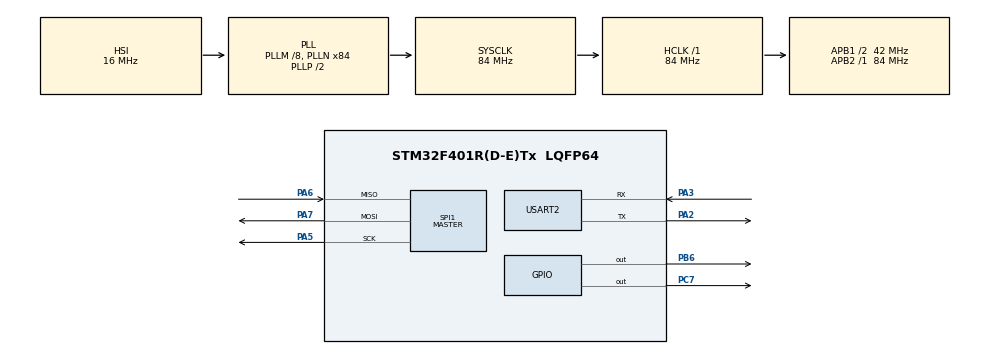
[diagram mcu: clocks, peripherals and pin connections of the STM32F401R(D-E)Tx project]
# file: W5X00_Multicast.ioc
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Mcu.Family=STM32F4
Mcu.Name=STM32F401R(D-E)Tx
Mcu.Package=LQFP64
NVIC.PriorityGroup=NVIC_PRIORITYGROUP_4
NVIC.RCC_IRQn=true\:0\:0\:false\:false\:true\:true\:false
NVIC.USART2_IRQn=true\:0\:0\:false\:false\:true\:true\:true
PA13.Mode=Serial_Wire
PA13.Signal=SYS_JTMS-SWDIO
PA14.Mode=Serial_Wire
PA14.Signal=SYS_JTCK-SWCLK
PA2.Mode=Asynchronous
PA2.Signal=USART2_TX
PA3.Mode=Asynchronous
PA3.Signal=USART2_RX
PA5.Mode=Full_Duplex_Master
PA5.Signal=SPI1_SCK
PA6.Mode=Full_Duplex_Master
PA6.Signal=SPI1_MISO
PA7.Mode=Full_Duplex_Master
PA7.Signal=SPI1_MOSI
PB6.Signal=GPIO_Output
PC14-OSC32_IN.Mode=LSE-External-Oscillator
PC14-OSC32_IN.Signal=RCC_OSC32_IN
PC15-OSC32_OUT.Mode=LSE-External-Oscillator
PC15-OSC32_OUT.Signal=RCC_OSC32_OUT
PC7.Signal=GPIO_Output
ProjectManager.HeapSize=0x200
ProjectManager.StackSize=0x400
ProjectManager.TargetToolchain=TrueSTUDIO
RCC.48MHZClocksFreq_Value=42000000
RCC.AHBFreq_Value=84000000
RCC.APB1CLKDivider=RCC_HCLK_DIV2
RCC.APB1Freq_Value=42000000
RCC.APB1TimFreq_Value=84000000
RCC.APB2Freq_Value=84000000
RCC.APB2TimFreq_Value=84000000
RCC.CortexFreq_Value=84000000
RCC.HCLKFreq_Value=84000000
RCC.HSE_VALUE=25000000
RCC.HSI_VALUE=16000000
RCC.PLLM=8
RCC.PLLN=84
RCC.SYSCLKFreq_VALUE=84000000
RCC.SYSCLKSource=RCC_SYSCLKSOURCE_PLLCLK
RCC.VCOOutputFreq_Value=168000000
SPI1.BaudRatePrescaler=SPI_BAUDRATEPRESCALER_16
SPI1.Direction=SPI_DIRECTION_2LINES
SPI1.Mode=SPI_MODE_MASTER
SPI1.VirtualType=VM_MASTER
USART2.VirtualMode=VM_ASYNC
board=custom

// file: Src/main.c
/* USER CODE BEGIN Header */
/**
  ******************************************************************************
  * @file           : main.c
  * @brief          : Main program body
  ******************************************************************************
  * @attention
  *
  * <h2><center>&copy; Copyright (c) 2019 STMicroelectronics.
  * All rights reserved.</center></h2>
  *
  * This software component is licensed by ST under BSD 3-Clause license,
  * the "License"; You may not use this file except in compliance with the
  * License. You may obtain a copy of the License at:
  *                        opensource.org/licenses/BSD-3-Clause
  *
  ******************************************************************************
  */
/* USER CODE END Header */

#include "main.h"

/* USER CODE BEGIN Includes */
#include "stdio.h"
#include "Application/Multicast/multicast.h"
#include "wizchip_conf.h"
/* USER CODE END Includes */

SPI_HandleTypeDef hspi1;

UART_HandleTypeDef huart2;

/* USER CODE BEGIN PV */
wiz_NetInfo defaultNetInfo = { .mac = {0x00,0x08,0xdc,0xff,0xee,0xdd},
							.ip = {192,168,0,130},
							.sn = {255,255,255,0},
							.gw = {192,168,0,254},
							//.dns = {168, 126, 63, 1},
							.dns = {8, 8, 8, 8},
							.dhcp = NETINFO_STATIC};
uint8_t ethBuf0[2048];
/* USER CODE END PV */

void SystemClock_Config(void);
static void MX_GPIO_Init(void);
static void MX_SPI1_Init(void);
static void MX_USART2_UART_Init(void);
/* USER CODE BEGIN PFP */
void print_network_information(void);

int _write(int fd, char *str, int len)
{
	for(int i=0; i<len; i++)
	{
		HAL_UART_Transmit(&huart2, (uint8_t *)&str[i], 1, 0xFFFF);
	}
	return len;
}

/* USER CODE END PFP */

int main(void)
{
  /* USER CODE BEGIN 1 */

  uint8_t multicast_ip[4]={239,255,255,250};
  uint16_t multicast_port=1900;
  /* USER CODE END 1 */

  /* MCU Configuration--------------------------------------------------------*/

  /* Reset of all peripherals, Initializes the Flash interface and the Systick. */
  HAL_Init();

  /* Configure the system clock */
  SystemClock_Config();

  /* Initialize all configured peripherals */
  MX_GPIO_Init();
  MX_SPI1_Init();
  MX_USART2_UART_Init();
  /* USER CODE BEGIN 2 */

  #if 1   //teddy 200212
  printf("\t - W5x00 Project - \r\n");
  resetAssert();
  HAL_Delay(300);
  resetDeassert();
  HAL_Delay(300);
  printf("\t - WizChip Init - \r\n");
  #endif

  WIZCHIPInitialize();
#if _WIZCHIP_ == W5100
  HAL_Delay(3000);
#endif
#if _WIZCHIP_ == W5100S
  printf("version:%.2x\r\n", getVER());
  printf("TMSR:%.2x\r\n", getTMSR());
  //NETUNLOCK();
#endif

#if _WIZCHIP_ == W5200  ||  _WIZCHIP_ == W5500
  printf("version:%.2x\r\n", getVERSIONR());
#endif

  wizchip_setnetinfo(&defaultNetInfo);
  print_network_information();

  /* USER CODE END 2 */

  /* Infinite loop */
  /* USER CODE BEGIN WHILE */
  while (1)
  {

	  multicast_recv(0,ethBuf0,multicast_ip, multicast_port);

    /* USER CODE END WHILE */

  }
}

void SystemClock_Config(void)
{
  RCC_OscInitTypeDef RCC_OscInitStruct = {0};
  RCC_ClkInitTypeDef RCC_ClkInitStruct = {0};

  /** Configure the main internal regulator output voltage
  */
  __HAL_RCC_PWR_CLK_ENABLE();
  __HAL_PWR_VOLTAGESCALING_CONFIG(PWR_REGULATOR_VOLTAGE_SCALE2);
  /** Initializes the CPU, AHB and APB busses clocks
  */
  RCC_OscInitStruct.OscillatorType = RCC_OSCILLATORTYPE_HSI;
  RCC_OscInitStruct.HSIState = RCC_HSI_ON;
  RCC_OscInitStruct.HSICalibrationValue = RCC_HSICALIBRATION_DEFAULT;
  RCC_OscInitStruct.PLL.PLLState = RCC_PLL_ON;
  RCC_OscInitStruct.PLL.PLLSource = RCC_PLLSOURCE_HSI;
  RCC_OscInitStruct.PLL.PLLM = 8;
  RCC_OscInitStruct.PLL.PLLN = 84;
  RCC_OscInitStruct.PLL.PLLP = RCC_PLLP_DIV2;
  RCC_OscInitStruct.PLL.PLLQ = 4;
  if (HAL_RCC_OscConfig(&RCC_OscInitStruct) != HAL_OK)
  {
    Error_Handler();
  }
  /** Initializes the CPU, AHB and APB busses clocks
  */
  RCC_ClkInitStruct.ClockType = RCC_CLOCKTYPE_HCLK|RCC_CLOCKTYPE_SYSCLK
                              |RCC_CLOCKTYPE_PCLK1|RCC_CLOCKTYPE_PCLK2;
  RCC_ClkInitStruct.SYSCLKSource = RCC_SYSCLKSOURCE_PLLCLK;
  RCC_ClkInitStruct.AHBCLKDivider = RCC_SYSCLK_DIV1;
  RCC_ClkInitStruct.APB1CLKDivider = RCC_HCLK_DIV2;
  RCC_ClkInitStruct.APB2CLKDivider = RCC_HCLK_DIV1;

  if (HAL_RCC_ClockConfig(&RCC_ClkInitStruct, FLASH_LATENCY_2) != HAL_OK)
  {
    Error_Handler();
  }
}

static void MX_SPI1_Init(void)
{

  /* SPI1 parameter configuration*/
  hspi1.Instance = SPI1;
  hspi1.Init.Mode = SPI_MODE_MASTER;
  hspi1.Init.Direction = SPI_DIRECTION_2LINES;
  hspi1.Init.DataSize = SPI_DATASIZE_8BIT;
  hspi1.Init.CLKPolarity = SPI_POLARITY_LOW;
  hspi1.Init.CLKPhase = SPI_PHASE_1EDGE;
  hspi1.Init.NSS = SPI_NSS_SOFT;
  hspi1.Init.BaudRatePrescaler = SPI_BAUDRATEPRESCALER_16;
  hspi1.Init.FirstBit = SPI_FIRSTBIT_MSB;
  hspi1.Init.TIMode = SPI_TIMODE_DISABLE;
  hspi1.Init.CRCCalculation = SPI_CRCCALCULATION_DISABLE;
  hspi1.Init.CRCPolynomial = 10;
  if (HAL_SPI_Init(&hspi1) != HAL_OK)
  {
    Error_Handler();
  }

}

static void MX_USART2_UART_Init(void)
{

  huart2.Instance = USART2;
  huart2.Init.BaudRate = 115200;
  huart2.Init.WordLength = UART_WORDLENGTH_8B;
  huart2.Init.StopBits = UART_STOPBITS_1;
  huart2.Init.Parity = UART_PARITY_NONE;
  huart2.Init.Mode = UART_MODE_TX_RX;
  huart2.Init.HwFlowCtl = UART_HWCONTROL_NONE;
  huart2.Init.OverSampling = UART_OVERSAMPLING_16;
  if (HAL_UART_Init(&huart2) != HAL_OK)
  {
    Error_Handler();
  }

}

static void MX_GPIO_Init(void)
{
  GPIO_InitTypeDef GPIO_InitStruct = {0};

  /* GPIO Ports Clock Enable */
  __HAL_RCC_GPIOC_CLK_ENABLE();
  __HAL_RCC_GPIOA_CLK_ENABLE();
  __HAL_RCC_GPIOB_CLK_ENABLE();

  /*Configure GPIO pin Output Level */
  HAL_GPIO_WritePin(GPIOC, GPIO_PIN_7, GPIO_PIN_RESET);

  /*Configure GPIO pin Output Level */
  HAL_GPIO_WritePin(GPIOB, GPIO_PIN_6, GPIO_PIN_RESET);

  /*Configure GPIO pin : PC7 */
  GPIO_InitStruct.Pin = GPIO_PIN_7;
  GPIO_InitStruct.Mode = GPIO_MODE_OUTPUT_PP;
  GPIO_InitStruct.Pull = GPIO_NOPULL;
  GPIO_InitStruct.Speed = GPIO_SPEED_FREQ_LOW;
  HAL_GPIO_Init(GPIOC, &GPIO_InitStruct);

  /*Configure GPIO pin : PB6 */
  GPIO_InitStruct.Pin = GPIO_PIN_6;
  GPIO_InitStruct.Mode = GPIO_MODE_OUTPUT_PP;
  GPIO_InitStruct.Pull = GPIO_NOPULL;
  GPIO_InitStruct.Speed = GPIO_SPEED_FREQ_LOW;
  HAL_GPIO_Init(GPIOB, &GPIO_InitStruct);

}

/* USER CODE BEGIN 4 */
void print_network_information(void)
{
	wizchip_getnetinfo(&defaultNetInfo);
	printf("Mac address: %02x:%02x:%02x:%02x:%02x:%02x\n\r",defaultNetInfo.mac[0],defaultNetInfo.mac[1],defaultNetInfo.mac[2],defaultNetInfo.mac[3],defaultNetInfo.mac[4],defaultNetInfo.mac[5]);
	printf("IP address : %d.%d.%d.%d\n\r",defaultNetInfo.ip[0],defaultNetInfo.ip[1],defaultNetInfo.ip[2],defaultNetInfo.ip[3]);
	printf("SM Mask	   : %d.%d.%d.%d\n\r",defaultNetInfo.sn[0],defaultNetInfo.sn[1],defaultNetInfo.sn[2],defaultNetInfo.sn[3]);
	printf("Gate way   : %d.%d.%d.%d\n\r",defaultNetInfo.gw[0],defaultNetInfo.gw[1],defaultNetInfo.gw[2],defaultNetInfo.gw[3]);
	printf("DNS Server : %d.%d.%d.%d\n\r",defaultNetInfo.dns[0],defaultNetInfo.dns[1],defaultNetInfo.dns[2],defaultNetInfo.dns[3]);
}
/* USER CODE END 4 */

void Error_Handler(void)
{
}

/************************ (C) COPYRIGHT STMicroelectronics *****END OF FILE****/
